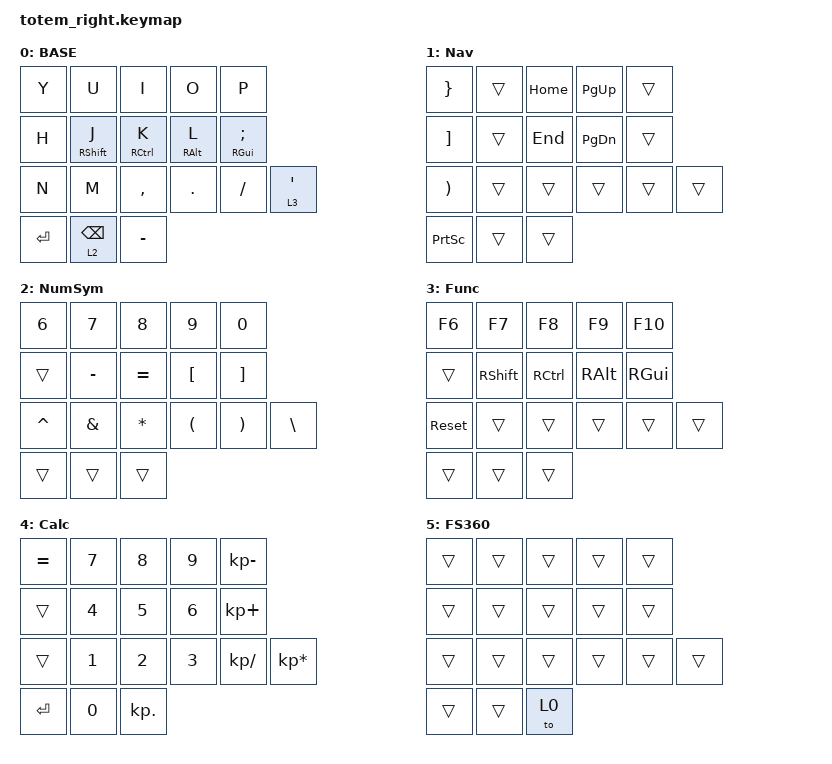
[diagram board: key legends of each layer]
//
//                                                        ▀▀▀▀▀     ▀▀▀▀▀          ▀▀█▀▀
//                                                        ▄▀▀▀▄  ▄  ▄▀▀▀▄  ▄  ▄▀▀▀▄  █  ▄▀▀▀▄
//                                                        █   █  █  █   █  █  █   █  █  █   █
//                                                         ▀▀▀   █   ▀▀▀   █   ▀▀▀   ▀   ▀▀▀
//                                                               █      ▄▄▄█▄▄▄    █   █  
//                                                               ▀      █  █  █     █▄█
//                                                             ▀▀▀▀▀    █  █  █      ▀
//                                                                      ▀  ▀  ▀
//
// ▄▄▄▄▄▄▄▄▄▄▄▄▄▄▄▄▄▄▄▄▄▄▄▄▄▄▄▄▄▄▄▄▄▄▄▄▄▄▄▄▄▄▄▄▄▄▄▄▄▄▄▄▄▄▄▄▄▄▄▄▄▄▄▄▄▄▄▄▄▄▄▄▄▄▄▄▄▄▄▄▄▄▄▄▄▄▄▄▄▄▄▄▄▄▄▄▄▄▄▄▄▄▄▄▄▄▄▄▄▄▄▄▄▄▄▄▄▄▄▄▄▄▄▄▄▄▄▄▄▄▄▄▄▄▄▄▄▄▄▄▄▄▄▄▄▄▄▄▄
       

#include <behaviors.dtsi>
#include <dt-bindings/zmk/keys.h>
#include <dt-bindings/zmk/bt.h>
#include <dt-bindings/zmk/outputs.h>

#define BASE        0
#define Nav         1
#define NumSym      2
#define Func        3
#define Calc        4
#define FS360       5

&mt {
    quick-tap-ms = <100>;
    global-quick-tap;
    flavor = "tap-preferred";
    tapping-term-ms = <170>;
};

&lt {
    tapping-term-ms = <240>;
    flavor = "balanced";
    quick-tap-ms = <150>;
};

&gresc {
};

/ {
    behaviors {
        hm: homerow_mods {
            compatible = "zmk,behavior-hold-tap";
            label = "HOMEROW_MODS";
            #binding-cells = <2>;
            flavor = "tap-preferred";
            tapping-term-ms = <200>;
            quick-tap-ms = <125>;
            global-quick-tap;
            bindings = <&kp>, <&kp>;
        };
    };


    keymap {
        compatible = "zmk,keymap";

        BASE {
            display-name = "BASE";
            bindings = <
&kp Y    &kp U        &kp I        &kp O       &kp P
&kp H    &hm RSHFT J  &hm RCTRL K  &hm RALT L  &hm RGUI SEMICOLON
&kp N    &kp M        &kp COMMA    &kp DOT     &kp SLASH           &lt 3 APOSTROPHE
&kp RET  &lt 2 BSPC   &kp MINUS
            >;
        };

        Nav {
            display-name = "Nav";
            bindings = <
&kp RBRC         &trans  &kp HOME  &kp PAGE_UP    &trans
&kp RBKT         &trans  &kp END   &kp PAGE_DOWN  &trans
&kp RPAR         &trans  &trans    &trans         &trans  &trans
&kp PRINTSCREEN  &trans  &trans
            >;
        };

        NumSym {
            display-name = "NumSym";
            bindings = <
&kp NUMBER_6  &kp NUMBER_7   &kp NUMBER_8  &kp NUMBER_9          &kp NUMBER_0
&trans        &kp MINUS      &kp EQUAL     &kp LEFT_BRACKET      &kp RIGHT_BRACKET
&kp CARET     &kp AMPERSAND  &kp ASTERISK  &kp LEFT_PARENTHESIS  &kp RIGHT_PARENTHESIS  &kp BACKSLASH
&trans        &trans         &trans
            >;
        };

        Func {
            display-name = "Func";
            bindings = <
&kp F6      &kp F7           &kp F8             &kp F9         &kp F10
&trans      &kp RIGHT_SHIFT  &kp RIGHT_CONTROL  &kp RIGHT_ALT  &kp RIGHT_GUI
&sys_reset  &trans           &trans             &trans         &trans         &trans
&trans      &trans           &trans
            >;
        };

        Calc {
            display-name = "Calc";
            bindings = <
&kp EQUAL  &kp N7  &kp N8      &kp N9  &kp KP_MINUS
&trans     &kp N4  &kp N5      &kp N6  &kp KP_PLUS
&trans     &kp N1  &kp N2      &kp N3  &kp KP_DIVIDE  &kp KP_MULTIPLY
&kp ENTER  &kp N0  &kp KP_DOT
            >;
        };

        FS360 {
            display-name = "FS360";
            bindings = <
&trans  &trans  &trans  &trans  &trans
&trans  &trans  &trans  &trans  &trans
&trans  &trans  &trans  &trans  &trans  &trans
&trans  &trans  &to 0
            >;
        };
    };
};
